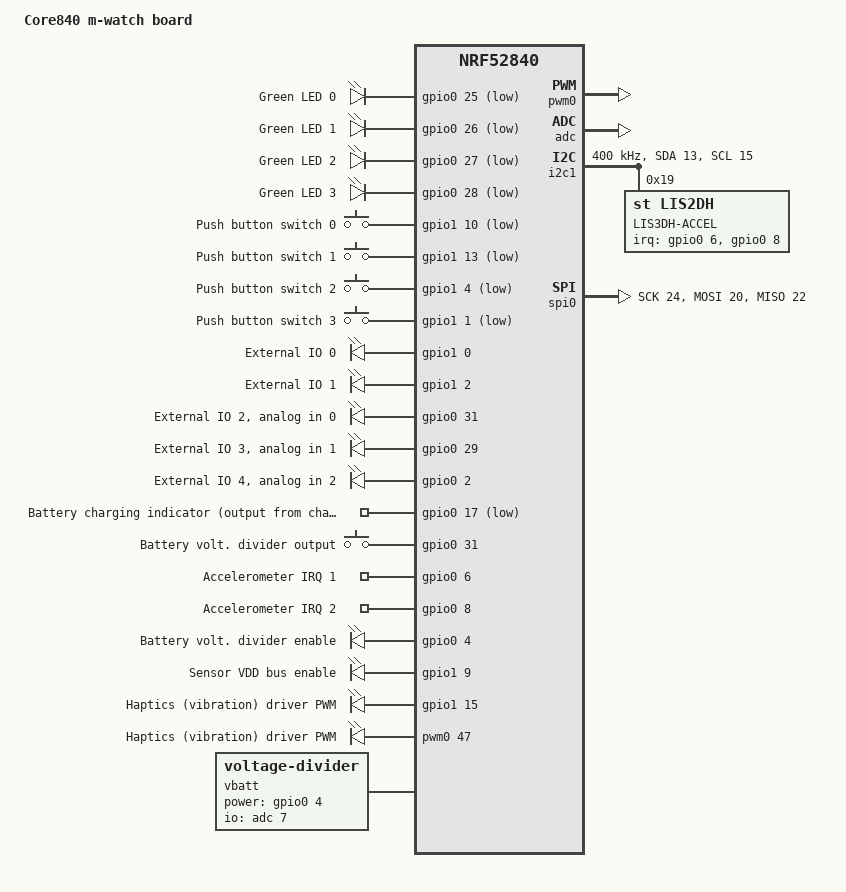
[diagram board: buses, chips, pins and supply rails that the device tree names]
/*
 * Copyright (c) 2017 Linaro Limited
 *
 * SPDX-License-Identifier: Apache-2.0
 */

/dts-v1/;
#include <nordic/nrf52840_qiaa.dtsi>

/ {
	model = "Core840 m-watch board";
	compatible = "nordic,nrf52840-dk-nrf52840";
	/* TODO: change compatible */

	chosen {
		zephyr,sram = &sram0;
		zephyr,flash = &flash0;
		zephyr,code-partition = &slot0_partition;
	};

	leds {
		/* No leds are actually present on the board */
		compatible = "gpio-leds";
		led0: led_0 {
			gpios = <&gpio0 25 GPIO_ACTIVE_LOW>;
			label = "Green LED 0";
		};
		led1: led_1 {
			gpios = <&gpio0 26 GPIO_ACTIVE_LOW>;
			label = "Green LED 1";
		};
		led2: led_2 {
			gpios = <&gpio0 27 GPIO_ACTIVE_LOW>;
			label = "Green LED 2";
		};
		led3: led_3 {
			gpios = <&gpio0 28 GPIO_ACTIVE_LOW>;
			label = "Green LED 3";
		};
	};

	buttons {
		compatible = "gpio-keys";
		button0: button_0 {
			/* Lower left */
			gpios = <&gpio1 10 (GPIO_PULL_UP | GPIO_ACTIVE_LOW)>;
			label = "Push button switch 0";
		};
		button1: button_1 {
			/* Lower right */
			gpios = <&gpio1 13 (GPIO_PULL_UP | GPIO_ACTIVE_LOW)>;
			label = "Push button switch 1";
		};
		button2: button_2 {
			/* Upper right */
			gpios = <&gpio1 4 (GPIO_PULL_UP | GPIO_ACTIVE_LOW)>;
			label = "Push button switch 2";
		};
		button3: button_3 {
			/* Not actually connected to anything */
			gpios = <&gpio1 1 (GPIO_PULL_UP | GPIO_ACTIVE_LOW)>;
			label = "Push button switch 3";
		};
	};

	ext_io {
		compatible = "gpio-leds";
		/* GPIOs present on extension connector */
		eio0: ext_io0 {
			gpios = <&gpio1 0 GPIO_ACTIVE_HIGH>;
			label = "External IO 0";
			/* also controls external 5V rail */
		};
		eio1: ext_io1 {
			gpios = <&gpio1 2 GPIO_ACTIVE_HIGH>;
			label = "External IO 1";
		};
		eio2_ain0: ext_ain0_io2 {
			gpios = <&gpio0 31 GPIO_ACTIVE_HIGH>;
			label = "External IO 2, analog in 0";
		};
		eio3_ain1: ext_ain1_io3 {
			gpios = <&gpio0 29 GPIO_ACTIVE_HIGH>;
			label = "External IO 3, analog in 1";
		};
		eio4_ain2: ext_ain2_io4 {
			gpios = <&gpio0 2 GPIO_ACTIVE_HIGH>;
			label = "External IO 4, analog in 2";
		};
	};

	board_inputs {
		compatible = "gpio-keys";
		chg_active: chg_active {
			gpios = <&gpio0 17 (GPIO_PULL_UP | GPIO_ACTIVE_LOW)>;
			label = "Battery charging indicator (output from charger)";
		};
		batmon_out: batmon_out {
			gpios = <&gpio0 31 GPIO_ACTIVE_HIGH>;
			label = "Battery volt. divider output";
			/* Shared with ext_ain0_io2 */
		};
		acc_int1: acc_int1 {
			gpios = <&gpio0 6 GPIO_ACTIVE_HIGH>;
			label = "Accelerometer IRQ 1";
		};
		acc_int2: acc_int2 {
			gpios = <&gpio0 8 GPIO_ACTIVE_HIGH>;
			label = "Accelerometer IRQ 2";
		};
	};

	board_outputs {
		compatible = "gpio-leds";
		batmon_en: batmon_en {
			gpios = <&gpio0 4 GPIO_ACTIVE_HIGH>;
			label = "Battery volt. divider enable";
		};
		sens_en: sens_en {
			gpios = <&gpio1 9 GPIO_ACTIVE_HIGH>;
			label = "Sensor VDD bus enable";
		};
		hapt_gpio: hapt_gpio {
			gpios = <&gpio1 15 GPIO_ACTIVE_HIGH>;
			label = "Haptics (vibration) driver PWM";
		};
	};

	board_pwm {
		compatible = "pwm-leds";
		hapt_pwm: hapt_pwm {
			pwms = <&pwm0 47>;
			label = "Haptics (vibration) driver PWM";
		};
	};

   	vbatt {
   		compatible = "voltage-divider";
   		io-channels = <&adc 7>; /* GPIO 0:31 */
   		output-ohms = <10000>;
   		full-ohms = <(10000 + 10000)>;
   		power-gpios = <&gpio0 4 GPIO_ACTIVE_HIGH>;
   	};

	/* These aliases are provided for compatibility with samples */
	aliases {
		led0 = &led0;
		led1 = &led1;
		led2 = &led2;
		led3 = &led3;
		sw0 = &button0;
		sw1 = &button1;
		sw2 = &button2;
		sw3 = &button3;
		ledspi = &spi0;
	};
};

&pwm0 {
	status = "okay";
	/* See hapt_pwm node */
	ch0-pin = <47>;
	/* ch0-inverted; */
};

&adc {
	status = "okay";
};

&gpiote {
	status = "okay";
};

&gpio0 {
	status = "okay";
};

&gpio1 {
	status = "okay";
};

&i2c1 {
	compatible = "nordic,nrf-twim";
	status = "okay";
	sda-pin = <13>;
	scl-pin = <15>;
	clock-frequency = <I2C_BITRATE_FAST>;

	accel: lis2dh@19 {
		/* Is actually a lis3dh, but compatible with lis3dh cmd set */
		compatible = "st,lis2dh";
		label = "LIS3DH-ACCEL";
		status = "okay";
		/* SA0 = 1 */
		reg = <0x19>;
		irq-gpios = 	<&gpio0 6 GPIO_ACTIVE_HIGH>,
				<&gpio0 8 GPIO_ACTIVE_HIGH>;
	};
};

&spi0 {
	compatible = "nordic,nrf-spim";
	status = "okay";
	sck-pin = <24>;
	mosi-pin = <20>;
	miso-pin = <22>;
};

&flash0 {
	/*
	 * For more information, see:
	 * https://docs.zephyrproject.org/latest/guides/dts/legacy-macros.html#legacy-flash-partitions
	 */
	partitions {
		compatible = "fixed-partitions";
		#address-cells = <1>;
		#size-cells = <1>;

		boot_partition: partition@0 {
			label = "mcuboot";
			reg = <0x000000000 0x0000C000>;
		};
		slot0_partition: partition@c000 {
			label = "image-0";
			reg = <0x0000C000 0x00067000>;
		};
		slot1_partition: partition@73000 {
			label = "image-1";
			reg = <0x00073000 0x00067000>;
		};
		scratch_partition: partition@da000 {
			label = "image-scratch";
			reg = <0x000da000 0x0001e000>;
		};

		/*
		 * The flash starting at 0x000f8000 and ending at
		 * 0x000fffff is reserved for use by the application.
		 */

		/*
		 * Storage partition will be used by FCB/LittleFS/NVS
		 * if enabled.
		 */
		storage_partition: partition@f8000 {
			label = "storage";
			reg = <0x000f8000 0x00008000>;
		};
	};
};
